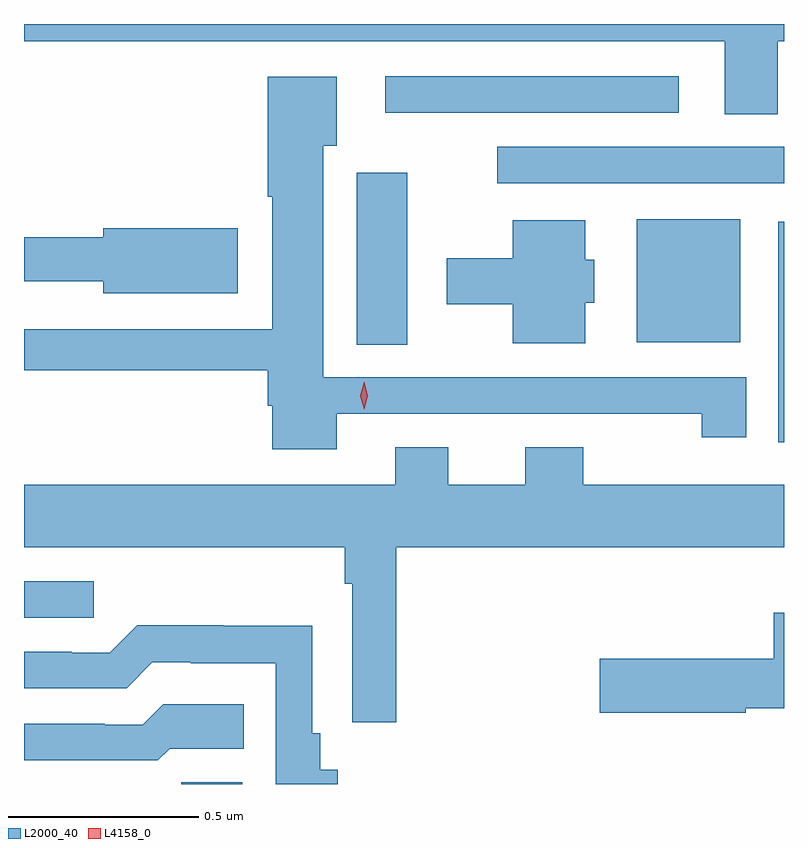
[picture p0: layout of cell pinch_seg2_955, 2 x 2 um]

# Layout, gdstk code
import gdstk
lib = gdstk.Library(unit=1e-6, precision=1e-09)
def R(c, l, rs):  # rectangles x0, y0, x1, y1
    for r in rs: c.add(gdstk.rectangle(r[:2], r[2:], *l))
def P(c, l, *ps):  # polygons
    for p in ps: c.add(gdstk.Polygon(p, *l))
L2000_40 = (2000, 40)
L4158_0 = (4158, 0)

pinch_seg2_955 = lib.new_cell('pinch_seg2_955')
R(pinch_seg2_955, L2000_40, [(294.105,660.333,294.265,660.337), (293.691,660.771,293.875,660.867), (295.676,661.232,295.691,661.813), (294.566,661.489,294.7,661.942), (295.304,661.496,295.576,661.819), (294.936,661.914,295.691,662.01), (294.642,662.1,295.414,662.196)])
P(pinch_seg2_955, L2000_40, [(295.675,662.288),(295.691,662.288),(295.691,662.333),(293.691,662.333),(293.691,662.288),(295.535,662.288),(295.535,662.095),(295.675,662.095)],
  [(294.514,661.308),(295.246,661.308),(295.246,661.307),(295.474,661.307),(295.474,661.245),(295.591,661.245),(295.591,661.404),(294.478,661.404),(294.478,662.012),(294.514,662.012),(294.514,662.194),(294.332,662.194),(294.332,661.879),(294.344,661.879),(294.344,661.53),(293.691,661.53),(293.691,661.422),(294.332,661.422),(294.332,661.328),(294.344,661.328),(294.344,661.214),(294.514,661.214)],
  [(295.168,661.599),(295.192,661.599),(295.192,661.713),(295.168,661.713),(295.168,661.816),(294.977,661.816),(294.977,661.717),(294.804,661.717),(294.804,661.595),(294.977,661.595),(294.977,661.493),(295.168,661.493)],
  [(294.253,661.796),(293.9,661.796),(293.9,661.772),(293.691,661.772),(293.691,661.656),(293.9,661.656),(293.9,661.625),(294.253,661.625)],
  [(294.671,660.956),(295.691,660.956),(295.691,661.12),(295.163,661.12),(295.163,661.219),(295.01,661.219),(295.01,661.12),(294.808,661.12),(294.808,661.219),(294.668,661.219),(294.668,661.12),(293.691,661.12),(293.691,660.956),(294.535,660.956),(294.535,660.86),(294.555,660.86),(294.555,660.495),(294.671,660.495)],
  [(295.59,660.533),(295.691,660.533),(295.691,660.784),(295.664,660.784),(295.664,660.663),(295.206,660.663),(295.206,660.521),(295.59,660.521)],
  [(294.517,660.37),(294.47,660.37),(294.47,660.466),(294.45,660.466),(294.45,660.749),(294.215,660.749),(294.215,660.751),(293.989,660.751),(293.916,660.678),(293.816,660.678),(293.816,660.681),(293.691,660.681),(293.691,660.585),(293.961,660.585),(294.029,660.653),(294.13,660.653),(294.13,660.651),(294.354,660.651),(294.354,660.333),(294.517,660.333)],
  [(294.074,660.426),(294.269,660.426),(294.269,660.543),(294.057,660.543),(294.003,660.489),(293.903,660.489),(293.903,660.492),(293.691,660.492),(293.691,660.395),(294.043,660.395)])
P(pinch_seg2_955, L4158_0, [(294.587,661.319),(294.587,661.319),(294.576,661.355),(294.586,661.391),(294.586,661.391),(294.586,661.391),(294.596,661.355),(294.587,661.319)])

lib.write_gds('pinch_seg2_955.gds')
